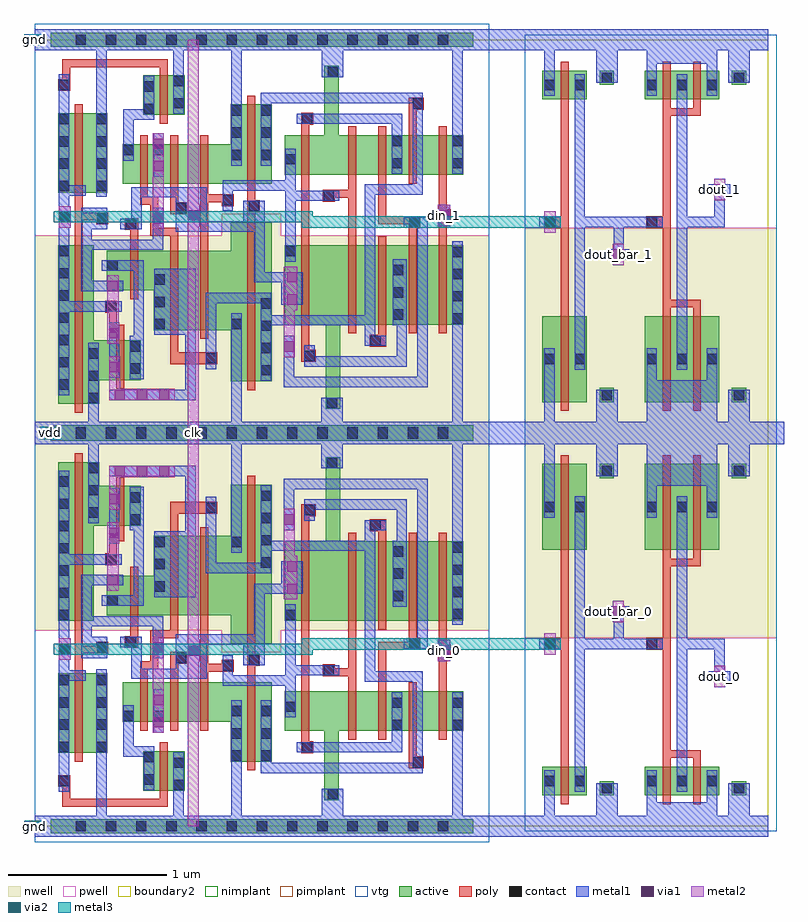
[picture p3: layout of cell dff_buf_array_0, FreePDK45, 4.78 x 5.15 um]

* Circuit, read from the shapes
.subckt dff_buf_array_0 clk din_0 din_1 dout_0 dout_1 dout_bar_0 dout_bar_1 gnd vdd
M1 gnd n1 dff_buf_0_0/pinv_6_1/A gnd nfet w=0.5u l=0.05u
M2 gnd n2 dff_buf_0_1/pinv_6_1/A gnd nfet w=0.5u l=0.05u
M3 n1 n3 n4 gnd nfet w=0.25u l=0.05u
M4 n2 n5 n6 gnd nfet w=0.25u l=0.05u
M5 gnd dff_buf_0_0/pinv_6_1/A n4 gnd nfet w=0.25u l=0.05u
M6 gnd dff_buf_0_1/pinv_6_1/A n6 gnd nfet w=0.25u l=0.05u
M7 n7 clk n1 gnd nfet w=0.25u l=0.05u
M8 n8 clk n2 gnd nfet w=0.25u l=0.05u
M9 gnd n9 n7 gnd nfet w=0.25u l=0.05u
M10 gnd n10 n8 gnd nfet w=0.25u l=0.05u
M11 n3 clk gnd gnd nfet w=0.5u l=0.05u
M12 n5 clk gnd gnd nfet w=0.5u l=0.05u
M13 gnd n11 n9 gnd nfet w=0.25u l=0.05u
M14 gnd n12 n10 gnd nfet w=0.25u l=0.05u
M15 n13 n9 gnd gnd nfet w=0.25u l=0.05u
M16 n14 n10 gnd gnd nfet w=0.25u l=0.05u
M17 n11 clk n13 gnd nfet w=0.25u l=0.05u
M18 n12 clk n14 gnd nfet w=0.25u l=0.05u
M19 n15 n3 n11 gnd nfet w=0.25u l=0.05u
M20 n16 n5 n12 gnd nfet w=0.25u l=0.05u
M21 gnd din_0 n15 gnd nfet w=0.25u l=0.05u
M22 gnd din_1 n16 gnd nfet w=0.25u l=0.05u
M23 dout_bar_0 dff_buf_0_0/pinv_6_1/A gnd gnd nfet w=0.18u l=0.05u
M24 dout_bar_1 dff_buf_0_1/pinv_6_1/A gnd gnd nfet w=0.18u l=0.05u
M25 dout_0 dout_bar_0 gnd gnd nfet w=0.18u l=0.05u m=2
M26 dout_1 dout_bar_1 gnd gnd nfet w=0.18u l=0.05u m=2
M27 vdd n1 dff_buf_0_0/pinv_6_1/A vdd pfet w=1u l=0.05u
M28 vdd n2 dff_buf_0_1/pinv_6_1/A vdd pfet w=1u l=0.05u
M29 n17 dff_buf_0_0/pinv_6_1/A vdd vdd pfet w=0.25u l=0.05u
M30 n18 dff_buf_0_1/pinv_6_1/A vdd vdd pfet w=0.25u l=0.05u
M31 n1 clk n17 vdd pfet w=0.25u l=0.05u
M32 n2 clk n18 vdd pfet w=0.25u l=0.05u
M33 n19 n3 n1 vdd pfet w=0.5u l=0.05u
M34 n20 n5 n2 vdd pfet w=0.5u l=0.05u
M35 vdd n9 n19 vdd pfet w=0.5u l=0.05u
M36 vdd n10 n20 vdd pfet w=0.5u l=0.05u
M37 n3 clk vdd vdd pfet w=1u l=0.05u
M38 n5 clk vdd vdd pfet w=1u l=0.05u
M39 vdd n11 n9 vdd pfet w=0.5u l=0.05u
M40 vdd n12 n10 vdd pfet w=0.5u l=0.05u
M41 n21 n9 vdd vdd pfet w=0.5u l=0.05u
M42 n22 n10 vdd vdd pfet w=0.5u l=0.05u
M43 n11 n3 n21 vdd pfet w=0.5u l=0.05u
M44 n12 n5 n22 vdd pfet w=0.5u l=0.05u
M45 n23 clk n11 vdd pfet w=0.5u l=0.05u
M46 n24 clk n12 vdd pfet w=0.5u l=0.05u
M47 vdd din_0 n23 vdd pfet w=0.5u l=0.05u
M48 vdd din_1 n24 vdd pfet w=0.5u l=0.05u
M49 dout_bar_0 dff_buf_0_0/pinv_6_1/A vdd vdd pfet w=0.54u l=0.05u
M50 dout_bar_1 dff_buf_0_1/pinv_6_1/A vdd vdd pfet w=0.54u l=0.05u
M51 dout_0 dout_bar_0 vdd vdd pfet w=0.54u l=0.05u m=2
M52 dout_1 dout_bar_1 vdd vdd pfet w=0.54u l=0.05u m=2
.ends

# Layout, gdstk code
import gdstk
lib = gdstk.Library(unit=1e-6, precision=5e-10)
def R(c, l, rs):  # rectangles x0, y0, x1, y1
    for r in rs: c.add(gdstk.rectangle(r[:2], r[2:], *l))
def A(c, l, x, y, w, h, nx, ny, dx, dy):  # array of equal rectangles
    R(c, l, [(x+i*dx, y+j*dy, x+i*dx+w, y+j*dy+h) for i in range(nx) for j in range(ny)])
def P(c, l, *ps):  # polygons
    for p in ps: c.add(gdstk.Polygon(p, *l))
active = (1, 0)
pwell = (2, 0)
nwell = (3, 0)
nimplant = (4, 0)
pimplant = (5, 0)
vtg = (6, 0)
poly = (9, 0)
contact = (10, 0)
metal1 = (11, 0)
via1 = (12, 0)
metal2 = (13, 0)
via2 = (14, 0)
metal3 = (15, 0)
boundary2 = (239, 0)

dff = lib.new_cell('dff')
A(dff, active, 1.9725, 0.6, 0.05, 0.25, 4, 1, 0.19, 0)
A(dff, active, 2.0225, 0.6, 0.14, 0.25, 3, 1, 0.19, 0)
A(dff, active, 0.6625, 0.6575, 0.05, 0.25, 3, 1, 0.19, 0)
A(dff, active, 1.9725, 1.2925, 0.05, 0.5, 4, 1, 0.19, 0)
A(dff, active, 2.0225, 1.2925, 0.14, 0.5, 3, 1, 0.19, 0)
R(dff, active, [(0.1,-0.045,2.76,0.045), (0.6825,0.2225,0.7875,0.4725), (0.7875,0.2225,0.8375,0.4725), (0.8375,0.2225,0.9425,0.4725), (1.3375,0.4075,1.3875,0.9075), (1.3875,0.4075,1.4925,0.9075), (0.1475,0.4625,0.2525,0.9625), (0.2525,0.4625,0.3025,0.9625), (0.3025,0.4625,0.4575,0.9625), (1.5725,0.6,1.6775,0.85), (1.6775,0.6,1.7275,0.85), (2.5925,0.6,2.6975,0.85), (0.5525,0.6575,0.6625,0.9075), (0.7125,0.6575,0.8525,0.9075), (0.9025,0.6575,1.0425,0.9075), (1.3375,1.15,1.3875,2.15), (1.3875,1.15,1.4925,2.15), (0.1475,1.2925,0.2525,2.2925), (0.2525,1.2925,0.3025,2.2925), (1.5725,1.2925,1.6775,1.7925), (1.6775,1.2925,1.7275,1.7925), (2.5925,1.2925,2.6975,1.7925), (0.4525,1.3275,0.6025,1.5775), (0.6025,1.3275,0.6525,1.5775), (0.8525,1.3275,0.9025,1.8275), (0.9025,1.3275,1.0425,1.8275), (1.0425,1.3275,1.0925,1.8275), (0.5125,1.8925,0.5625,2.1425), (0.5625,1.8925,0.6675,2.1425), (0.1,2.425,2.76,2.515)])
P(dff, active, [(1.7275,1.2925),(1.9725,1.2925),(1.9725,1.7925),(1.9225,1.7925),(1.9225,2.3225),(1.8325,2.3225),(1.8325,1.7925),(1.7275,1.7925)],
  [(1.0925,1.3275),(1.2325,1.3275),(1.2325,1.15),(1.3375,1.15),(1.3375,2.15),(1.2325,2.15),(1.2325,1.8275),(1.0925,1.8275)],
  [(0.6525,1.3275),(0.8525,1.3275),(0.8525,1.8275),(0.7475,1.8275),(0.7475,1.5775),(0.6525,1.5775)],
  [(0.3025,1.2925),(0.3725,1.2925),(0.3725,1.8925),(0.5125,1.8925),(0.5125,2.1425),(0.4075,2.1425),(0.4075,2.2925),(0.3025,2.2925)],
  [(1.7275,0.6),(1.8225,0.6),(1.8225,0.165),(1.9125,0.165),(1.9125,0.6),(1.9725,0.6),(1.9725,0.85),(1.7275,0.85)],
  [(1.0925,0.6575),(1.2325,0.6575),(1.2325,0.4075),(1.3375,0.4075),(1.3375,0.9075),(1.0925,0.9075)])
P(dff, pwell, [(0,-0.1),(2.86,-0.1),(2.86,1.235),(1.5475,1.235),(1.5475,1.095),(1.1775,1.095),(1.1775,1.235),(0,1.235)])
P(dff, nwell, [(0,1.235),(1.1775,1.235),(1.1775,1.095),(1.5475,1.095),(1.5475,1.235),(2.86,1.235),(2.86,2.57),(0,2.57)])
A(dff, nimplant, 1.9725, 0.6, 0.05, 0.25, 4, 1, 0.19, 0)
A(dff, nimplant, 2.0225, 0.6, 0.14, 0.25, 3, 1, 0.19, 0)
A(dff, nimplant, 0.6625, 0.6575, 0.05, 0.25, 3, 1, 0.19, 0)
R(dff, nimplant, [(0.6825,0.2225,0.7875,0.4725), (0.7875,0.2225,0.8375,0.4725), (0.8375,0.2225,0.9425,0.4725), (1.3375,0.4075,1.3875,0.9075), (1.3875,0.4075,1.4925,0.9075), (0.1475,0.4625,0.2525,0.9625), (0.2525,0.4625,0.3025,0.9625), (0.3025,0.4625,0.4575,0.9625), (1.5725,0.6,1.6775,0.85), (1.6775,0.6,1.7275,0.85), (2.5925,0.6,2.6975,0.85), (0.5525,0.6575,0.6625,0.9075), (0.7125,0.6575,0.8525,0.9075), (0.9025,0.6575,1.0425,0.9075), (0.1,2.425,2.76,2.515)])
P(dff, nimplant, [(1.7275,0.6),(1.8225,0.6),(1.8225,0.165),(1.9125,0.165),(1.9125,0.6),(1.9725,0.6),(1.9725,0.85),(1.7275,0.85)],
  [(1.0925,0.6575),(1.2325,0.6575),(1.2325,0.4075),(1.3375,0.4075),(1.3375,0.9075),(1.0925,0.9075)])
A(dff, pimplant, 1.9725, 1.2925, 0.05, 0.5, 4, 1, 0.19, 0)
A(dff, pimplant, 2.0225, 1.2925, 0.14, 0.5, 3, 1, 0.19, 0)
R(dff, pimplant, [(0.1,-0.045,2.76,0.045), (1.3375,1.15,1.3875,2.15), (1.3875,1.15,1.4925,2.15), (0.1475,1.2925,0.2525,2.2925), (0.2525,1.2925,0.3025,2.2925), (1.5725,1.2925,1.6775,1.7925), (1.6775,1.2925,1.7275,1.7925), (2.5925,1.2925,2.6975,1.7925), (0.4525,1.3275,0.6025,1.5775), (0.6025,1.3275,0.6525,1.5775), (0.8525,1.3275,0.9025,1.8275), (0.9025,1.3275,1.0425,1.8275), (1.0425,1.3275,1.0925,1.8275), (0.5125,1.8925,0.5625,2.1425), (0.5625,1.8925,0.6675,2.1425)])
P(dff, pimplant, [(1.7275,1.2925),(1.9725,1.2925),(1.9725,1.7925),(1.9225,1.7925),(1.9225,2.3225),(1.8325,2.3225),(1.8325,1.7925),(1.7275,1.7925)],
  [(1.0925,1.3275),(1.2325,1.3275),(1.2325,1.15),(1.3375,1.15),(1.3375,2.15),(1.2325,2.15),(1.2325,1.8275),(1.0925,1.8275)],
  [(0.6525,1.3275),(0.8525,1.3275),(0.8525,1.8275),(0.7475,1.8275),(0.7475,1.5775),(0.6525,1.5775)],
  [(0.3025,1.2925),(0.3725,1.2925),(0.3725,1.8925),(0.5125,1.8925),(0.5125,2.1425),(0.4075,2.1425),(0.4075,2.2925),(0.3025,2.2925)])
R(dff, vtg, [(0,-0.1,2.86,2.57)])
A(dff, poly, 1.9725, 0.6, 0.05, 0.25, 4, 1, 0.19, 0)
A(dff, poly, 0.6625, 0.6025, 0.05, 0.055, 3, 1, 0.19, 0)
A(dff, poly, 0.6625, 0.6575, 0.05, 0.25, 3, 1, 0.19, 0)
A(dff, poly, 1.9725, 1.2925, 0.05, 0.5, 4, 1, 0.19, 0)
R(dff, poly, [(0.7875,0.2225,0.8375,0.4725), (1.3375,0.3525,1.3875,0.4075), (0.2525,0.4075,0.3025,0.4625), (1.3375,0.4075,1.3875,0.9075), (0.2525,0.4625,0.3025,0.9625), (0.7875,0.4725,0.8375,0.5275), (1.9725,0.545,2.0225,0.6), (2.1625,0.545,2.2125,0.6), (2.5425,0.545,2.5925,0.6), (1.6775,0.6,1.7275,0.85), (1.6775,0.85,1.7275,1.2925), (2.3525,0.85,2.4025,0.905), (1.3375,1.15,1.3875,2.15), (2.1625,1.2375,2.2125,1.2925), (0.2525,1.2925,0.3025,2.2925), (1.6775,1.2925,1.7275,1.7925), (0.6025,1.3275,0.6525,1.5775), (0.8525,1.3275,0.9025,1.8275), (1.0425,1.3275,1.0925,1.8275), (0.6025,1.5775,0.6525,1.6325), (1.9725,1.7925,2.0225,1.8475), (2.3525,1.7925,2.4025,1.8475), (2.5425,1.7925,2.5925,1.8475), (1.0425,1.8275,1.0925,1.8825), (0.5125,1.8925,0.5625,2.1425), (0.5125,2.1425,0.5625,2.1975), (1.3375,2.15,1.3875,2.205), (0.2525,2.2925,0.3025,2.3475)])
P(dff, poly, [(2.5425,0.85),(2.5925,0.85),(2.5925,1.0675),(2.6175,1.0675),(2.6175,1.1425),(2.5925,1.1425),(2.5925,1.2925),(2.5425,1.2925)],
  [(2.3525,0.365),(2.4475,0.365),(2.4475,0.44),(2.4025,0.44),(2.4025,0.6),(2.3525,0.6)],
  [(2.1075,1.8575),(2.1625,1.8575),(2.1625,1.7925),(2.2125,1.7925),(2.2125,1.9325),(2.1075,1.9325)],
  [(2.1625,0.85),(2.2125,0.85),(2.2125,1.1125),(2.4275,1.1125),(2.4275,1.1875),(2.4025,1.1875),(2.4025,1.2925),(2.3525,1.2925),(2.3525,1.1625),(2.1625,1.1625)],
  [(1.8125,0.945),(1.9725,0.945),(1.9725,0.85),(2.0225,0.85),(2.0225,1.2925),(1.9725,1.2925),(1.9725,0.995),(1.8875,0.995),(1.8875,1.02),(1.8125,1.02)],
  [(1.6775,1.7925),(1.7275,1.7925),(1.7275,1.9525),(1.7675,1.9525),(1.7675,2.0275),(1.6775,2.0275)],
  [(1.6775,0.46),(1.7525,0.46),(1.7525,0.535),(1.7275,0.535),(1.7275,0.6),(1.6775,0.6)],
  [(1.3375,0.9075),(1.3875,0.9075),(1.3875,1.01),(1.4175,1.01),(1.4175,1.085),(1.3875,1.085),(1.3875,1.15),(1.3375,1.15)],
  [(1.0425,0.9075),(1.0925,0.9075),(1.0925,0.9725),(1.2525,0.9725),(1.2525,1.0475),(1.1775,1.0475),(1.1775,1.0225),(1.0925,1.0225),(1.0925,1.3275),(1.0425,1.3275)],
  [(0.8525,1.8275),(0.9025,1.8275),(0.9025,1.9675),(1.1475,1.9675),(1.1475,2.0425),(0.8525,2.0425)],
  [(0.8525,0.9075),(0.9025,0.9075),(0.9025,1.0225),(0.9575,1.0225),(0.9575,1.0975),(0.8525,1.0975)],
  [(0.4425,1.6425),(0.5175,1.6425),(0.5175,1.7925),(0.5625,1.7925),(0.5625,1.8925),(0.5125,1.8925),(0.5125,1.8425),(0.4675,1.8425),(0.4675,1.7175),(0.4425,1.7175)],
  [(0.5675,1.1225),(0.6525,1.1225),(0.6525,1.3275),(0.6025,1.3275),(0.6025,1.1975),(0.5675,1.1975)],
  [(0.1475,0.2475),(0.1725,0.2475),(0.1725,0.1225),(0.8375,0.1225),(0.8375,0.2225),(0.7875,0.2225),(0.7875,0.1725),(0.2225,0.1725),(0.2225,0.3225),(0.1475,0.3225)],
  [(0.6625,0.9075),(0.7125,0.9075),(0.7125,0.9875),(0.7775,0.9875),(0.7775,1.1825),(0.9025,1.1825),(0.9025,1.3275),(0.8525,1.3275),(0.8525,1.2325),(0.7275,1.2325),(0.7275,1.0375),(0.6625,1.0375)],
  [(0.2525,0.9625),(0.3025,0.9625),(0.3025,1.0875),(0.4625,1.0875),(0.4625,1.1625),(0.3875,1.1625),(0.3875,1.1375),(0.3025,1.1375),(0.3025,1.2925),(0.2525,1.2925)])
A(dff, contact, 0.2575, -0.0325, 0.065, 0.065, 13, 2, 0.19, 2.47)
A(dff, contact, 1.2375, 0.4125, 0.065, 0.065, 1, 3, 0, 0.14)
A(dff, contact, 1.4225, 0.4125, 0.065, 0.065, 1, 3, 0, 0.14)
A(dff, contact, 0.1525, 0.4675, 0.065, 0.065, 1, 4, 0, 0.14)
A(dff, contact, 0.3875, 0.4675, 0.065, 0.065, 1, 4, 0, 0.14)
A(dff, contact, 0.1525, 1.2975, 0.065, 0.065, 1, 7, 0, 0.14)
A(dff, contact, 2.6275, 1.3025, 0.065, 0.065, 1, 4, 0, 0.14)
A(dff, contact, 2.2525, 1.4175, 0.065, 0.065, 1, 3, 0, 0.14)
A(dff, contact, 0.7525, 1.4775, 0.065, 0.065, 1, 3, 0, 0.14)
A(dff, contact, 1.4225, 1.6275, 0.065, 0.065, 1, 4, 0, 0.14)
A(dff, contact, 0.3375, 1.9425, 0.065, 0.065, 1, 3, 0, 0.14)
R(dff, contact, [(1.8425,0.17,1.9075,0.235), (0.8725,0.2275,0.9375,0.2925), (0.1525,0.2525,0.2175,0.3175), (0.6875,0.2625,0.7525,0.3275), (0.8725,0.3675,0.9375,0.4325), (2.3775,0.37,2.4425,0.435), (0.6875,0.4025,0.7525,0.4675), (1.6825,0.465,1.7475,0.53), (2.2475,0.605,2.3125,0.67), (2.6275,0.605,2.6925,0.67), (0.5575,0.6625,0.6225,0.7275), (0.7475,0.6625,0.8125,0.7275), (1.5775,0.72,1.6425,0.785), (2.2475,0.745,2.3125,0.81), (2.6275,0.745,2.6925,0.81), (1.8175,0.95,1.8825,1.015), (1.1825,0.9775,1.2475,1.0425), (1.3475,1.015,1.4125,1.08), (0.8875,1.0275,0.9525,1.0925), (2.5475,1.0725,2.6125,1.1375), (0.3925,1.0925,0.4575,1.1575), (2.3575,1.1175,2.4225,1.1825), (0.5725,1.1275,0.6375,1.1925), (1.5775,1.2975,1.6425,1.3625), (0.4575,1.3875,0.5225,1.4525), (0.4475,1.6475,0.5125,1.7125), (1.2375,1.7575,1.3025,1.8225), (2.1125,1.8625,2.1775,1.9275), (0.5975,1.8975,0.6625,1.9625), (1.6975,1.9575,1.7625,2.0225), (1.0775,1.9725,1.1425,2.0375), (0.5975,2.0375,0.6625,2.1025), (1.8375,2.2525,1.9025,2.3175)])
R(dff, metal1, [(0,-0.065,2.86,0.065), (0,-0.065,2.86,0.065), (0.7475,0.5875,0.8125,0.8625), (0.1525,0.915,0.2175,1.1275), (0.8875,0.9275,1.0825,1.2075), (2.5375,1.0375,2.615,1.1725), (0.15,1.0475,0.2275,1.1825), (0.4675,1.7775,0.5325,2.1275), (0.1,2.405,2.86,2.535), (0.1,2.405,2.86,2.535)])
P(dff, metal1, [(0,2.405),(0.3375,2.405),(0.3375,1.9075),(0.4025,1.9075),(0.4025,2.405),(1.2375,2.405),(1.2375,1.7225),(1.3025,1.7225),(1.3025,2.405),(1.8025,2.405),(1.8025,2.2525),(1.9375,2.2525),(1.9375,2.405),(2.6275,2.405),(2.6275,1.2675),(2.6925,1.2675),(2.6925,2.405),(2.76,2.405),(2.76,2.535),(0,2.535)],
  [(0.1,-0.065),(2.76,-0.065),(2.76,0.065),(2.6925,0.065),(2.6925,0.845),(2.6275,0.845),(2.6275,0.065),(1.9425,0.065),(1.9425,0.235),(1.8075,0.235),(1.8075,0.065),(1.3025,0.065),(1.3025,0.7925),(1.2375,0.7925),(1.2375,0.065),(0.9375,0.065),(0.9375,0.4675),(0.8725,0.4675),(0.8725,0.065),(0.4525,0.065),(0.4525,0.9875),(0.3875,0.9875),(0.3875,0.065),(0.1,0.065)],
  [(1.0775,1.5925),(1.4875,1.5925),(1.4875,1.7325),(2.0775,1.7325),(2.0775,0.91),(2.3775,0.91),(2.3775,0.4),(1.4875,0.4),(1.4875,0.7925),(1.4225,0.7925),(1.4225,0.335),(2.4425,0.335),(2.4425,0.975),(2.1425,0.975),(2.1425,1.8625),(2.2125,1.8625),(2.2125,1.9275),(2.0775,1.9275),(2.0775,1.7975),(1.4875,1.7975),(1.4875,2.1475),(1.4225,2.1475),(1.4225,1.6575),(1.1425,1.6575),(1.1425,2.0725),(1.0775,2.0725)],
  [(0.5375,1.1275),(0.6075,1.1275),(0.6075,0.9275),(1.0825,0.9275),(1.0825,1.1425),(1.3125,1.1425),(1.3125,1.015),(1.4475,1.015),(1.4475,1.4625),(1.6875,1.4625),(1.6875,1.6675),(1.5525,1.6675),(1.5525,1.5275),(1.3825,1.5275),(1.3825,1.2075),(0.8875,1.2075),(0.8875,0.9925),(0.6725,0.9925),(0.6725,1.1925),(0.5375,1.1925)],
  [(1.5675,1.8625),(1.6325,1.8625),(1.6325,2.1225),(2.4075,2.1225),(2.4075,1.1825),(2.3225,1.1825),(2.3225,1.1175),(2.4725,1.1175),(2.4725,2.1875),(1.5675,2.1875)],
  [(1.6975,1.9225),(1.7625,1.9225),(1.7625,1.9925),(2.2775,1.9925),(2.2775,1.7975),(2.2525,1.7975),(2.2525,1.3825),(2.3425,1.3825),(2.3425,2.0575),(1.6975,2.0575)],
  [(1.6475,0.465),(2.3125,0.465),(2.3125,0.845),(2.2475,0.845),(2.2475,0.53),(1.6475,0.53)],
  [(1.1825,0.885),(1.5775,0.885),(1.5775,0.685),(1.6425,0.685),(1.6425,0.95),(1.9175,0.95),(1.9175,1.015),(1.6425,1.015),(1.6425,1.3975),(1.5775,1.3975),(1.5775,0.95),(1.2475,0.95),(1.2475,1.0775),(1.1825,1.0775)],
  [(0.4675,2.2025),(0.9475,2.2025),(0.9475,1.8575),(0.7525,1.8575),(0.7525,1.4425),(1.0125,1.4425),(1.0125,2.2675),(0.4675,2.2675)],
  [(0.2925,1.0575),(0.4575,1.0575),(0.4575,1.1925),(0.3575,1.1925),(0.3575,1.2575),(0.7425,1.2575),(0.7425,1.0575),(0.8075,1.0575),(0.8075,1.3225),(0.3575,1.3225),(0.3575,1.5175),(0.5575,1.5175),(0.5575,1.5825),(0.2925,1.5825)],
  [(0.4225,1.3875),(0.6875,1.3875),(0.6875,2.1375),(0.5975,2.1375),(0.5975,1.8625),(0.6225,1.8625),(0.6225,1.4525),(0.4225,1.4525)],
  [(0.1525,0.2175),(0.2175,0.2175),(0.2175,0.9175),(0.3225,0.9175),(0.3225,0.9825),(0.2175,0.9825),(0.2175,1.6475),(0.5475,1.6475),(0.5475,1.7125),(0.2175,1.7125),(0.2175,2.2375),(0.1525,2.2375)],
  [(0.5575,0.4375),(0.6875,0.4375),(0.6875,0.2275),(0.7525,0.2275),(0.7525,0.5025),(0.6225,0.5025),(0.6225,0.7625),(0.5575,0.7625)])
A(dff, via1, 0.5025, 2.2025, 0.065, 0.065, 3, 1, 0.14, 0)
R(dff, via1, [(0.7475,0.6225,0.8125,0.6875), (0.7475,0.7625,0.8125,0.8275), (0.97,1.0725,1.035,1.1375), (2.5475,1.0725,2.6125,1.1375), (0.155,1.0825,0.22,1.1475), (0.7425,1.0925,0.8075,1.1575), (1.5875,1.4625,1.6525,1.5275), (0.4575,1.5175,0.5225,1.5825), (1.5875,1.6025,1.6525,1.6675), (0.4675,1.8125,0.5325,1.8775), (1.5675,1.8975,1.6325,1.9625), (0.4675,2.0275,0.5325,2.0925)])
R(dff, metal2, [(0.7425,0.5875,0.8125,1.1925), (0.9625,1.0375,1.04,1.1725), (0.9625,1.0375,1.04,1.1725), (2.5375,1.0375,2.615,1.1725), (2.5375,1.0375,2.615,1.1725), (0.15,1.0475,0.2275,1.1825), (0.15,1.0475,0.2275,1.1825)])
P(dff, metal2, [(1.5675,1.4275),(1.6525,1.4275),(1.6525,1.7025),(1.6375,1.7025),(1.6375,1.9975),(1.5675,1.9975)],
  [(0.4675,1.9925),(0.5375,1.9925),(0.5375,2.1975),(0.8825,2.1975),(0.8825,2.2675),(0.4675,2.2675)],
  [(0.4575,1.4825),(0.5275,1.4825),(0.5275,1.7775),(0.5325,1.7775),(0.5325,1.9125),(0.4575,1.9125)])
R(dff, boundary2, [(0,0,2.86,2.475)])
dff.add(gdstk.Label('clk', (0.995,1.15), layer=13, texttype=0))
dff.add(gdstk.Label('D', (2.565,1.15), layer=13, texttype=0))
dff.add(gdstk.Label('Q', (0.175,1.1), layer=13, texttype=0))
dff.add(gdstk.Label('gnd', (1.215,0.0425), layer=11, texttype=0))
dff.add(gdstk.Label('vdd', (0.825,2.5325), layer=11, texttype=0))
dff.add(gdstk.Label('D', (2.576,1.105), layer=13, texttype=0))
dff.add(gdstk.Label('Q', (0.189,1.115), layer=13, texttype=0))
dff.add(gdstk.Label('clk', (1.001,1.105), layer=13, texttype=0))
dff.add(gdstk.Label('vdd', (1.48,2.47), layer=11, texttype=0))
dff.add(gdstk.Label('gnd', (1.43,0), layer=11, texttype=0))

contact_11 = lib.new_cell('contact_11')
R(contact_11, active, [(0,0.0225,0.09,0.1125)])
R(contact_11, nwell, [(-0.055,-0.0325,0.145,0.1675)])
R(contact_11, pimplant, [(0,0.0225,0.09,0.1125)])
R(contact_11, contact, [(0.0125,0.035,0.0775,0.1)])
R(contact_11, metal1, [(0.0125,0,0.0775,0.135)])

pmos_m1_w0_540_a_p = lib.new_cell('pmos_m1_w0_540_a_p')
R(pmos_m1_w0_540_a_p, active, [(0,0,0.28,0.54)])
R(pmos_m1_w0_540_a_p, nwell, [(-0.055,-0.055,0.335,0.595)])
R(pmos_m1_w0_540_a_p, pimplant, [(0,0,0.28,0.54)])
R(pmos_m1_w0_540_a_p, vtg, [(-0.055,-0.055,0.335,0.595)])
R(pmos_m1_w0_540_a_p, poly, [(0.115,-0.055,0.165,0.595), (0.115,-0.055,0.165,0.595)])
R(pmos_m1_w0_540_a_p, metal1, [(0.0125,0.2025,0.0775,0.3375), (0.2025,0.2025,0.2675,0.3375)])
R(pmos_m1_w0_540_a_p, boundary2, [(-0.055,-0.055,0.335,0.595)])
pmos_m1_w0_540_a_p.add(gdstk.Reference(contact_11, (0,0.2025)))
pmos_m1_w0_540_a_p.add(gdstk.Reference(contact_11, (0.19,0.2025)))
pmos_m1_w0_540_a_p.add(gdstk.Label('G', (0.14,0.27), layer=9, texttype=0))
pmos_m1_w0_540_a_p.add(gdstk.Label('S', (0.045,0.27), layer=11, texttype=0))
pmos_m1_w0_540_a_p.add(gdstk.Label('D', (0.235,0.27), layer=11, texttype=0))

contact_16 = lib.new_cell('contact_16')
R(contact_16, active, [(0,0.0225,0.09,0.1125)])
R(contact_16, pwell, [(-0.055,-0.0325,0.145,0.1675)])
R(contact_16, nimplant, [(0,0.0225,0.09,0.1125)])
R(contact_16, contact, [(0.0125,0.035,0.0775,0.1)])
R(contact_16, metal1, [(0.0125,0,0.0775,0.135)])

nmos_m1_w0_180_a_p = lib.new_cell('nmos_m1_w0_180_a_p')
R(nmos_m1_w0_180_a_p, active, [(0,0,0.28,0.18)])
R(nmos_m1_w0_180_a_p, pwell, [(-0.055,-0.055,0.335,0.235)])
R(nmos_m1_w0_180_a_p, nimplant, [(0,0,0.28,0.18)])
R(nmos_m1_w0_180_a_p, vtg, [(-0.055,-0.055,0.335,0.235)])
R(nmos_m1_w0_180_a_p, poly, [(0.115,-0.055,0.165,0.235), (0.115,-0.055,0.165,0.235)])
R(nmos_m1_w0_180_a_p, metal1, [(0.0125,0.0225,0.0775,0.1575), (0.2025,0.0225,0.2675,0.1575)])
R(nmos_m1_w0_180_a_p, boundary2, [(-0.055,-0.055,0.335,0.235)])
nmos_m1_w0_180_a_p.add(gdstk.Reference(contact_16, (0,0.0225)))
nmos_m1_w0_180_a_p.add(gdstk.Reference(contact_16, (0.19,0.0225)))
nmos_m1_w0_180_a_p.add(gdstk.Label('G', (0.14,0.09), layer=9, texttype=0))
nmos_m1_w0_180_a_p.add(gdstk.Label('S', (0.045,0.09), layer=11, texttype=0))
nmos_m1_w0_180_a_p.add(gdstk.Label('D', (0.235,0.09), layer=11, texttype=0))

contact_13 = lib.new_cell('contact_13')
R(contact_13, active, [(0.0225,0,0.1125,0.09)])
R(contact_13, nwell, [(-0.0325,-0.055,0.1675,0.145)])
R(contact_13, nimplant, [(0.0225,0,0.1125,0.09)])
R(contact_13, contact, [(0.035,0.0125,0.1,0.0775)])
R(contact_13, metal1, [(0,0.0125,0.135,0.0775)])

contact_17 = lib.new_cell('contact_17')
R(contact_17, active, [(0.0225,0,0.1125,0.09)])
R(contact_17, pwell, [(-0.0325,-0.055,0.1675,0.145)])
R(contact_17, pimplant, [(0.0225,0,0.1125,0.09)])
R(contact_17, contact, [(0.035,0.0125,0.1,0.0775)])
R(contact_17, metal1, [(0,0.0125,0.135,0.0775)])

contact_12 = lib.new_cell('contact_12')
R(contact_12, poly, [(0.03,0,0.105,0.075)])
R(contact_12, contact, [(0.035,0.005,0.1,0.07)])
R(contact_12, metal1, [(0,0.005,0.135,0.07)])

pinv_6 = lib.new_cell('pinv_6')
R(pinv_6, pwell, [(-0.055,-0.0325,0.6975,1.1875)])
R(pinv_6, nwell, [(-0.055,1.1875,0.6975,2.5075)])
R(pinv_6, vtg, [(-0.055,-0.0325,0.6975,1.1875), (-0.055,1.1875,0.6975,2.5075)])
R(pinv_6, poly, [(0.17,0.43,0.22,1.685), (0.1025,1.11,0.17,1.185)])
R(pinv_6, metal1, [(0,-0.0325,0.6425,0.0325), (0.0675,-0.0325,0.1325,0.2175), (0.3925,0,0.5275,0.24), (0.2575,0.2175,0.3225,2.0775), (0.035,1.115,0.17,1.18), (0.29,1.115,0.355,1.18), (0.0675,1.9425,0.1325,2.5075), (0.3925,2.235,0.5275,2.475), (0,2.4425,0.6425,2.5075)])
R(pinv_6, boundary2, [(0,0,0.6425,2.475)])
pinv_6.add(gdstk.Reference(pmos_m1_w0_540_a_p, (0.055,1.74)))
pinv_6.add(gdstk.Reference(nmos_m1_w0_180_a_p, (0.055,0.195)))
pinv_6.add(gdstk.Reference(contact_13, (0.3925,2.19)))
pinv_6.add(gdstk.Reference(contact_17, (0.3925,0.195)))
pinv_6.add(gdstk.Reference(contact_12, (0.035,1.11)))
pinv_6.add(gdstk.Label('gnd', (0.321,0), layer=11, texttype=0))
pinv_6.add(gdstk.Label('vdd', (0.321,2.475), layer=11, texttype=0))
pinv_6.add(gdstk.Label('A', (0.1025,1.1475), layer=11, texttype=0))
pinv_6.add(gdstk.Label('Z', (0.3225,1.1475), layer=11, texttype=0))

pmos_m2_w0_540_a_p = lib.new_cell('pmos_m2_w0_540_a_p')
R(pmos_m2_w0_540_a_p, active, [(0,0,0.47,0.54)])
R(pmos_m2_w0_540_a_p, nwell, [(-0.055,-0.055,0.525,0.595)])
R(pmos_m2_w0_540_a_p, pimplant, [(0,0,0.47,0.54)])
R(pmos_m2_w0_540_a_p, vtg, [(-0.055,-0.055,0.525,0.595)])
R(pmos_m2_w0_540_a_p, poly, [(0.115,-0.105,0.355,-0.055), (0.115,-0.055,0.165,0.595), (0.305,-0.055,0.355,0.595)])
R(pmos_m2_w0_540_a_p, metal1, [(0.2025,0.2025,0.2675,0.3375), (0.0125,0.27,0.0775,0.435), (0.3925,0.27,0.4575,0.435), (0.0125,0.4025,0.4575,0.4675)])
R(pmos_m2_w0_540_a_p, boundary2, [(-0.055,-0.055,0.525,0.595)])
pmos_m2_w0_540_a_p.add(gdstk.Reference(contact_11, (0,0.2025)))
pmos_m2_w0_540_a_p.add(gdstk.Reference(contact_11, (0.38,0.2025)))
pmos_m2_w0_540_a_p.add(gdstk.Reference(contact_11, (0.19,0.2025)))
pmos_m2_w0_540_a_p.add(gdstk.Label('G', (0.235,-0.08), layer=9, texttype=0))
pmos_m2_w0_540_a_p.add(gdstk.Label('S', (0.235,0.435), layer=11, texttype=0))
pmos_m2_w0_540_a_p.add(gdstk.Label('D', (0.235,0.27), layer=11, texttype=0))

nmos_m2_w0_180_a_p = lib.new_cell('nmos_m2_w0_180_a_p')
R(nmos_m2_w0_180_a_p, active, [(0,0,0.47,0.18)])
R(nmos_m2_w0_180_a_p, pwell, [(-0.055,-0.055,0.525,0.235)])
R(nmos_m2_w0_180_a_p, nimplant, [(0,0,0.47,0.18)])
R(nmos_m2_w0_180_a_p, vtg, [(-0.055,-0.055,0.525,0.235)])
R(nmos_m2_w0_180_a_p, poly, [(0.115,-0.055,0.165,0.235), (0.305,-0.055,0.355,0.235), (0.115,0.235,0.355,0.285)])
R(nmos_m2_w0_180_a_p, metal1, [(0.0125,-0.1075,0.4575,-0.0425), (0.0125,-0.075,0.0775,0.09), (0.3925,-0.075,0.4575,0.09), (0.2025,0.0225,0.2675,0.1575)])
R(nmos_m2_w0_180_a_p, boundary2, [(-0.055,-0.075,0.525,0.235)])
nmos_m2_w0_180_a_p.add(gdstk.Reference(contact_16, (0,0.0225)))
nmos_m2_w0_180_a_p.add(gdstk.Reference(contact_16, (0.38,0.0225)))
nmos_m2_w0_180_a_p.add(gdstk.Reference(contact_16, (0.19,0.0225)))
nmos_m2_w0_180_a_p.add(gdstk.Label('G', (0.235,0.26), layer=9, texttype=0))
nmos_m2_w0_180_a_p.add(gdstk.Label('S', (0.235,-0.075), layer=11, texttype=0))
nmos_m2_w0_180_a_p.add(gdstk.Label('D', (0.235,0.09), layer=11, texttype=0))

pinv_7 = lib.new_cell('pinv_7')
R(pinv_7, pwell, [(-0.055,-0.0325,0.8875,1.1875)])
R(pinv_7, nwell, [(-0.055,1.1875,0.8875,2.5075)])
R(pinv_7, vtg, [(-0.055,-0.0325,0.8875,1.1875), (-0.055,1.1875,0.8875,2.5075)])
R(pinv_7, poly, [(0.17,0.48,0.22,1.635), (0.1025,1.11,0.17,1.185)])
R(pinv_7, metal1, [(0,-0.0325,0.8325,0.0325), (0.0675,-0.0325,0.5125,0.0875), (0.5825,0,0.7175,0.24), (0.2575,0.2175,0.3225,2.0775), (0.035,1.115,0.17,1.18), (0.29,1.115,0.355,1.18), (0.0675,2.1425,0.5125,2.5075), (0.5825,2.235,0.7175,2.475), (0,2.4425,0.8325,2.5075)])
R(pinv_7, boundary2, [(0,0,0.8325,2.475)])
pinv_7.add(gdstk.Reference(pmos_m2_w0_540_a_p, (0.055,1.74)))
pinv_7.add(gdstk.Reference(nmos_m2_w0_180_a_p, (0.055,0.195)))
pinv_7.add(gdstk.Reference(contact_13, (0.5825,2.19)))
pinv_7.add(gdstk.Reference(contact_17, (0.5825,0.195)))
pinv_7.add(gdstk.Reference(contact_12, (0.035,1.11)))
pinv_7.add(gdstk.Label('gnd', (0.416,0), layer=11, texttype=0))
pinv_7.add(gdstk.Label('vdd', (0.416,2.475), layer=11, texttype=0))
pinv_7.add(gdstk.Label('A', (0.1025,1.1475), layer=11, texttype=0))
pinv_7.add(gdstk.Label('Z', (0.3225,1.1475), layer=11, texttype=0))

contact_9 = lib.new_cell('contact_9')
R(contact_9, metal2, [(0.0325,0,0.1025,0.135)])
R(contact_9, via2, [(0.035,0.035,0.1,0.1)])
R(contact_9, metal3, [(0,0.0325,0.135,0.1025)])

contact_19 = lib.new_cell('contact_19')
R(contact_19, metal1, [(0,0.035,0.135,0.1)])
R(contact_19, via1, [(0.035,0.035,0.1,0.1)])
R(contact_19, metal2, [(0.0325,0,0.1025,0.135)])

dff_buf_0 = lib.new_cell('dff_buf_0')
R(dff_buf_0, metal1, [(0,-0.065,4.615,0.065), (4.2775,0.9425,4.3425,1.1475), (3.4625,1.115,3.675,1.18), (3.675,1.115,3.885,1.18), (4.105,1.115,4.31,1.18), (4.2775,1.115,4.3425,1.18), (3.6425,1.1475,3.7075,1.3525), (0.1,2.405,4.715,2.535)])
R(dff_buf_0, metal2, [(4.275,0.9075,4.345,0.9775), (0.9625,1.0375,1.04,1.1725), (2.5375,1.0375,2.615,1.1725), (3.64,1.3175,3.71,1.3875)])
R(dff_buf_0, metal3, [(0.19,1.08,1.715,1.15), (1.68,1.08,1.75,1.15), (1.68,1.1125,1.75,1.1825), (1.715,1.1125,3.2425,1.1825), (1.68,1.115,1.75,1.1475)])
R(dff_buf_0, boundary2, [(0,0,4.615,2.475)])
dff_buf_0.add(gdstk.Reference(dff, (0,0)))
dff_buf_0.add(gdstk.Reference(pinv_6, (3.14,0)))
dff_buf_0.add(gdstk.Reference(pinv_7, (3.7825,0)))
dff_buf_0.add(gdstk.Reference(contact_9, (0.12,1.0475)))
dff_buf_0.add(gdstk.Reference(contact_9, (3.175,1.08)))
dff_buf_0.add(gdstk.Reference(contact_19, (3.175,1.08)))
dff_buf_0.add(gdstk.Reference(contact_19, (4.2425,0.875)))
dff_buf_0.add(gdstk.Reference(contact_19, (3.605,1.285)))
dff_buf_0.add(gdstk.Label('vdd', (2.4075,2.47), layer=11, texttype=0))
dff_buf_0.add(gdstk.Label('gnd', (2.3075,0), layer=11, texttype=0))
dff_buf_0.add(gdstk.Label('clk', (1.001,1.105), layer=13, texttype=0))
dff_buf_0.add(gdstk.Label('D', (2.576,1.105), layer=13, texttype=0))
dff_buf_0.add(gdstk.Label('Q', (4.31,0.9425), layer=13, texttype=0))
dff_buf_0.add(gdstk.Label('Qb', (3.675,1.3525), layer=13, texttype=0))

contact_7 = lib.new_cell('contact_7')
R(contact_7, metal1, [(0,0.0025,0.135,0.0675)])
R(contact_7, via1, [(0.035,0.0025,0.1,0.0675)])
R(contact_7, metal2, [(0,0,0.135,0.07)])

contact_8 = lib.new_cell('contact_8')
R(contact_8, metal2, [(0,0,0.135,0.07)])
R(contact_8, via2, [(0.035,0.0025,0.1,0.0675)])
R(contact_8, metal3, [(0,0,0.135,0.07)])

dff_buf_array_0 = lib.new_cell('dff_buf_array_0')
R(dff_buf_array_0, metal2, [(0.9625,0,1.0325,4.95), (4.275,0.9075,4.345,0.9775), (2.5375,1.0375,2.615,1.1725), (3.64,1.3175,3.71,1.3875), (3.64,3.5625,3.71,3.6325), (2.5375,3.7775,2.615,3.9125), (4.275,3.9725,4.345,4.0425)])
R(dff_buf_array_0, metal3, [(-0.0675,-0.035,0.0675,0.035), (0.0325,2.435,0.1675,2.505), (0.0325,2.445,0.1675,2.515), (-0.0675,4.915,0.0675,4.985)])
R(dff_buf_array_0, boundary2, [(0,0,4.615,4.95)])
dff_buf_array_0.add(gdstk.Reference(dff_buf_0, (0,0)))
dff_buf_array_0.add(gdstk.Reference(dff_buf_0, (0,4.95), x_reflection=True))
dff_buf_array_0.add(gdstk.Reference(contact_7, (0.0325,2.435)))
dff_buf_array_0.add(gdstk.Reference(contact_8, (0.0325,2.435)))
dff_buf_array_0.add(gdstk.Reference(contact_7, (-0.0675,-0.035)))
dff_buf_array_0.add(gdstk.Reference(contact_8, (-0.0675,-0.035)))
dff_buf_array_0.add(gdstk.Reference(contact_7, (0.0325,2.445)))
dff_buf_array_0.add(gdstk.Reference(contact_8, (0.0325,2.445)))
dff_buf_array_0.add(gdstk.Reference(contact_7, (-0.0675,4.915)))
dff_buf_array_0.add(gdstk.Reference(contact_8, (-0.0675,4.915)))
dff_buf_array_0.add(gdstk.Label('vdd', (0.1,2.48), layer=15, texttype=0))
dff_buf_array_0.add(gdstk.Label('vdd', (0.1,2.47), layer=15, texttype=0))
dff_buf_array_0.add(gdstk.Label('gnd', (0,4.95), layer=15, texttype=0))
dff_buf_array_0.add(gdstk.Label('gnd', (0,0), layer=15, texttype=0))
dff_buf_array_0.add(gdstk.Label('din_0', (2.576,1.105), layer=13, texttype=0))
dff_buf_array_0.add(gdstk.Label('dout_0', (4.31,0.9425), layer=13, texttype=0))
dff_buf_array_0.add(gdstk.Label('dout_bar_0', (3.675,1.3525), layer=13, texttype=0))
dff_buf_array_0.add(gdstk.Label('din_1', (2.576,3.845), layer=13, texttype=0))
dff_buf_array_0.add(gdstk.Label('dout_1', (4.31,4.0075), layer=13, texttype=0))
dff_buf_array_0.add(gdstk.Label('dout_bar_1', (3.675,3.5975), layer=13, texttype=0))
dff_buf_array_0.add(gdstk.Label('clk', (0.9975,2.475), layer=13, texttype=0))

lib.write_gds('dff_buf_array_0.gds')
